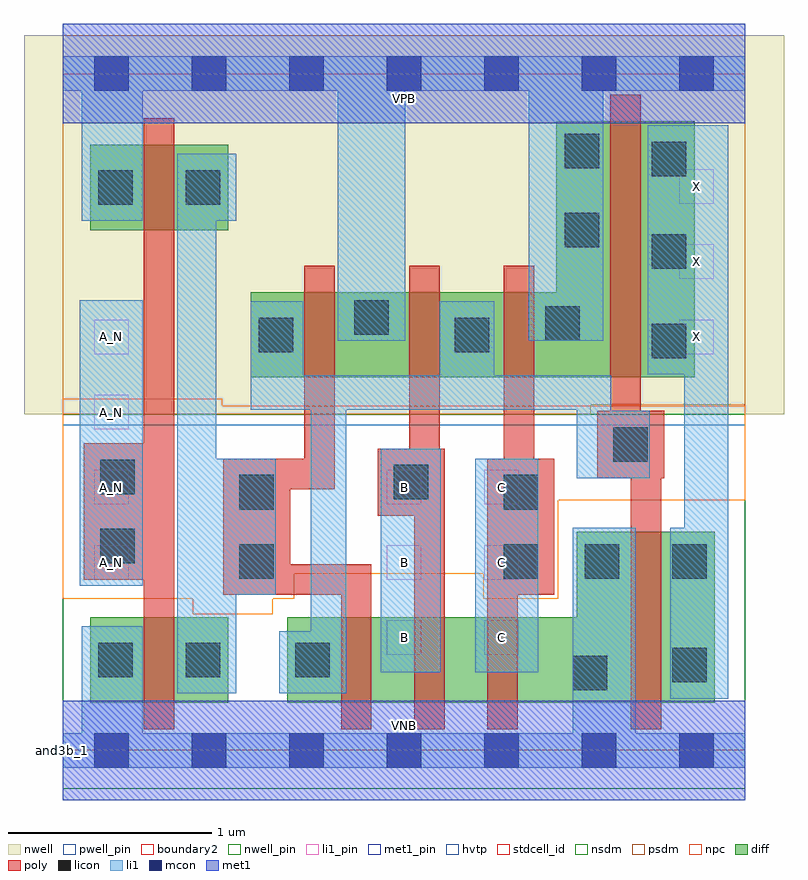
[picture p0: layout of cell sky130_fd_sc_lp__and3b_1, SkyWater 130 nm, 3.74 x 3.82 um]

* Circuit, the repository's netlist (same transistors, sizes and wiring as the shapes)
* Copyright 2020 The SkyWater PDK Authors
*
* Licensed under the Apache License, Version 2.0 (the "License");
* you may not use this file except in compliance with the License.
* You may obtain a copy of the License at
*
*     https://www.apache.org/licenses/LICENSE-2.0
*
* Unless required by applicable law or agreed to in writing, software
* distributed under the License is distributed on an "AS IS" BASIS,
* WITHOUT WARRANTIES OR CONDITIONS OF ANY KIND, either express or implied.
* See the License for the specific language governing permissions and
* limitations under the License.
*
* SPDX-License-Identifier: Apache-2.0

.SUBCKT sky130_fd_sc_lp__and3b_1 A_N B C VGND VNB VPB VPWR X
*.PININFO A_N:I B:I C:I VGND:I VNB:I VPB:I VPWR:I X:O
MMP0 y A VPWR VPB sky130_fd_pr__pfet_01v8_hvt m=1 w=0.42U l=0.15U mult=1 sa=0.265
+ sb=0.265 sd=0.28 area=0.063 perim=1.14
MMP1 y B VPWR VPB sky130_fd_pr__pfet_01v8_hvt m=1 w=0.42U l=0.15U mult=1 sa=0.265
+ sb=0.265 sd=0.28 area=0.063 perim=1.14
MMP2 y C VPWR VPB sky130_fd_pr__pfet_01v8_hvt m=1 w=0.42U l=0.15U mult=1 sa=0.265
+ sb=0.265 sd=0.28 area=0.063 perim=1.14
MMIP0 A A_N VPWR VPB sky130_fd_pr__pfet_01v8_hvt m=1 w=0.42U l=0.15U mult=1 sa=0.265
+ sb=0.265 sd=0.28 area=0.063 perim=1.14
MMIP1 X y VPWR VPB sky130_fd_pr__pfet_01v8_hvt m=1 w=1.26U l=0.15U mult=1 sa=0.265
+ sb=0.265 sd=0.28 area=0.063 perim=1.14
MMN0 y A sndA VNB sky130_fd_pr__nfet_01v8 m=1 w=0.42U l=0.15U mult=1 sa=0.265 sb=0.265
+ sd=0.28 area=0.063 perim=1.14
MMN1 sndA B sndB VNB sky130_fd_pr__nfet_01v8 m=1 w=0.42U l=0.15U mult=1 sa=0.265
+ sb=0.265 sd=0.28 area=0.063 perim=1.14
MMN2 sndB C VGND VNB sky130_fd_pr__nfet_01v8 m=1 w=0.42U l=0.15U mult=1 sa=0.265
+ sb=0.265 sd=0.28 area=0.063 perim=1.14
MMIN0 A A_N VGND VNB sky130_fd_pr__nfet_01v8 m=1 w=0.42U l=0.15U mult=1 sa=0.265
+ sb=0.265 sd=0.28 area=0.063 perim=1.14
MMIN1 X y VGND VNB sky130_fd_pr__nfet_01v8 m=1 w=0.84U l=0.15U mult=1 sa=0.265
+ sb=0.265 sd=0.28 area=0.063 perim=1.14
.ENDS sky130_fd_sc_lp__and3b_1

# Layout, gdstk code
import gdstk
lib = gdstk.Library(unit=1e-6, precision=1e-09)
def R(c, l, rs):  # rectangles x0, y0, x1, y1
    for r in rs: c.add(gdstk.rectangle(r[:2], r[2:], *l))
def A(c, l, x, y, w, h, nx, ny, dx, dy):  # array of equal rectangles
    R(c, l, [(x+i*dx, y+j*dy, x+i*dx+w, y+j*dy+h) for i in range(nx) for j in range(ny)])
def P(c, l, *ps):  # polygons
    for p in ps: c.add(gdstk.Polygon(p, *l))
nwell_pin = (64, 16)
nwell = (64, 20)
diff = (65, 20)
poly = (66, 20)
licon = (66, 44)
li1_pin = (67, 16)
li1 = (67, 20)
mcon = (67, 44)
met1_pin = (68, 16)
met1 = (68, 20)
hvtp = (78, 44)
stdcell_id = (81, 4)
nsdm = (93, 44)
psdm = (94, 20)
npc = (95, 20)
pwell_pin = (122, 16)
boundary2 = (236, 0)

sky130_fd_sc_lp__and3b_1 = lib.new_cell('sky130_fd_sc_lp__and3b_1')
R(sky130_fd_sc_lp__and3b_1, nwell_pin, [(0,3.085,3.36,3.33)])
R(sky130_fd_sc_lp__and3b_1, nwell, [(-0.19,1.655,3.55,3.52)])
R(sky130_fd_sc_lp__and3b_1, diff, [(0.135,0.235,0.815,0.655), (0.135,2.56,0.815,2.98)])
P(sky130_fd_sc_lp__and3b_1, diff, [(3.11,3.095),(2.43,3.095),(2.43,2.255),(0.925,2.255),(0.925,1.835),(3.11,1.835)],
  [(3.21,1.075),(2.53,1.075),(2.53,0.655),(1.105,0.655),(1.105,0.235),(3.21,0.235)])
P(sky130_fd_sc_lp__and3b_1, poly, [(0.55,3.11),(0.4,3.11),(0.4,1.51),(0.105,1.51),(0.105,0.84),(0.4,0.84),(0.4,0.105),(0.55,0.105)],
  [(1.52,0.915),(1.12,0.915),(1.12,1.285),(1.34,1.285),(1.34,2.385),(1.19,2.385),(1.19,1.435),(0.79,1.435),(0.79,0.765),(1.37,0.765),(1.37,0.105),(1.52,0.105)],
  [(1.88,1.485),(1.855,1.485),(1.855,2.385),(1.705,2.385),(1.705,1.485),(1.55,1.485),(1.55,1.155),(1.73,1.155),(1.73,0.105),(1.88,0.105)],
  [(2.42,1.435),(2.32,1.435),(2.32,2.385),(2.17,2.385),(2.17,1.435),(2.09,1.435),(2.09,0.105),(2.24,0.105),(2.24,0.765),(2.42,0.765)],
  [(2.96,1.67),(2.845,1.67),(2.845,3.225),(2.695,3.225),(2.695,1.67),(2.63,1.67),(2.63,1.34),(2.795,1.34),(2.795,0.105),(2.945,0.105),(2.945,1.34),(2.96,1.34)])
R(sky130_fd_sc_lp__and3b_1, licon, [(2.51,0.295,2.68,0.465), (3,0.335,3.17,0.505), (0.175,0.36,0.345,0.53), (0.605,0.36,0.775,0.53), (1.145,0.36,1.315,0.53), (0.87,0.845,1.04,1.015), (2.17,0.845,2.34,1.015), (2.57,0.845,2.74,1.015), (3,0.845,3.17,1.015), (0.185,0.92,0.355,1.09), (0.87,1.185,1.04,1.355), (2.17,1.185,2.34,1.355), (1.63,1.235,1.8,1.405), (0.185,1.26,0.355,1.43), (2.71,1.42,2.88,1.59), (2.9,1.93,3.07,2.1), (0.965,1.96,1.135,2.13), (1.93,1.96,2.1,2.13), (2.375,2.015,2.545,2.185), (1.435,2.045,1.605,2.215), (2.9,2.37,3.07,2.54), (2.47,2.475,2.64,2.645), (0.175,2.685,0.345,2.855), (0.605,2.685,0.775,2.855), (2.9,2.825,3.07,2.995), (2.47,2.865,2.64,3.035)])
A(sky130_fd_sc_lp__and3b_1, li1_pin, 1.595, 0.47, 0.17, 0.17, 1, 3, 0, 0.37)
A(sky130_fd_sc_lp__and3b_1, li1_pin, 2.075, 0.47, 0.17, 0.17, 1, 3, 0, 0.37)
A(sky130_fd_sc_lp__and3b_1, li1_pin, 0.155, 0.84, 0.17, 0.17, 1, 4, 0, 0.37)
A(sky130_fd_sc_lp__and3b_1, li1_pin, 3.035, 1.95, 0.17, 0.17, 1, 3, 0, 0.37)
R(sky130_fd_sc_lp__and3b_1, li1, [(1.565,0.385,1.86,1.485), (2.03,0.385,2.34,1.435), (0.085,0.81,0.395,2.215)])
P(sky130_fd_sc_lp__and3b_1, li1, [(1.355,2.015),(1.355,3.245),(0.395,3.245),(0.395,2.605),(0.095,2.605),(0.095,3.245),(0,3.245),(0,3.415),(3.36,3.415),(3.36,3.245),(2.66,3.245),(2.66,2.015),(2.295,2.015),(2.295,3.245),(1.685,3.245),(1.685,2.015)],
  [(0.095,0.085),(0.095,0.61),(0.395,0.61),(0.395,0.085),(2.51,0.085),(2.51,1.095),(2.82,1.095),(2.82,0.085),(3.36,0.085),(3.36,-0.085),(0,-0.085),(0,0.085)],
  [(0.755,2.605),(0.755,1.435),(1.05,1.435),(1.05,0.765),(0.855,0.765),(0.855,0.28),(0.565,0.28),(0.565,2.935),(0.855,2.935),(0.855,2.605)],
  [(1.185,1.845),(1.855,1.845),(1.855,2.21),(2.125,2.21),(2.125,1.845),(2.7,1.845),(2.7,1.67),(2.89,1.67),(2.89,1.34),(2.53,1.34),(2.53,1.675),(1.395,1.675),(1.395,0.28),(1.065,0.28),(1.065,0.585),(1.22,0.585),(1.22,1.675),(0.925,1.675),(0.925,2.21),(1.185,2.21)],
  [(3.06,1.095),(3.06,1.85),(2.88,1.85),(2.88,3.075),(3.275,3.075),(3.275,0.255),(2.99,0.255),(2.99,1.095)])
A(sky130_fd_sc_lp__and3b_1, mcon, 0.155, -0.085, 0.17, 0.17, 7, 2, 0.48, 3.33)
R(sky130_fd_sc_lp__and3b_1, met1_pin, [(0,0,3.36,0.245), (0,3.085,3.36,3.33)])
R(sky130_fd_sc_lp__and3b_1, met1, [(0,-0.245,3.36,0.245), (0,3.085,3.36,3.575)])
R(sky130_fd_sc_lp__and3b_1, hvtp, [(0,1.6,3.36,3.33)])
R(sky130_fd_sc_lp__and3b_1, stdcell_id, [(0,0,3.36,3.33)])
R(sky130_fd_sc_lp__and3b_1, nsdm, [(0,-0.19,3.36,1.655)])
P(sky130_fd_sc_lp__and3b_1, psdm, [(3.36,3.52),(0,3.52),(0,1.655),(2.6,1.655),(2.6,1.7),(3.36,1.7)])
P(sky130_fd_sc_lp__and3b_1, npc, [(3.36,1.695),(0.785,1.695),(0.785,1.73),(0,1.73),(0,0.745),(0.64,0.745),(0.64,0.67),(1.035,0.67),(1.035,0.745),(1.14,0.745),(1.14,0.87),(2.07,0.87),(2.07,0.745),(2.44,0.745),(2.44,1.23),(3.36,1.23)])
R(sky130_fd_sc_lp__and3b_1, pwell_pin, [(0,0,3.36,0.245)])
R(sky130_fd_sc_lp__and3b_1, boundary2, [(0,0,3.36,3.33)])
sky130_fd_sc_lp__and3b_1.add(gdstk.Label('VNB', (1.68,0.123), layer=64, texttype=59))
sky130_fd_sc_lp__and3b_1.add(gdstk.Label('VPB', (1.68,3.208), layer=64, texttype=5))
sky130_fd_sc_lp__and3b_1.add(gdstk.Label('and3b_1', (0,0), layer=83, texttype=44))
sky130_fd_sc_lp__and3b_1.add(gdstk.Label('VPWR', (1.68,3.208), layer=68, texttype=5))
sky130_fd_sc_lp__and3b_1.add(gdstk.Label('VGND', (1.68,0.123), layer=68, texttype=5))
sky130_fd_sc_lp__and3b_1.add(gdstk.Label('B', (1.68,0.555), layer=67, texttype=5))
sky130_fd_sc_lp__and3b_1.add(gdstk.Label('B', (1.68,0.925), layer=67, texttype=5))
sky130_fd_sc_lp__and3b_1.add(gdstk.Label('B', (1.68,1.295), layer=67, texttype=5))
sky130_fd_sc_lp__and3b_1.add(gdstk.Label('C', (2.16,0.925), layer=67, texttype=5))
sky130_fd_sc_lp__and3b_1.add(gdstk.Label('C', (2.16,1.295), layer=67, texttype=5))
sky130_fd_sc_lp__and3b_1.add(gdstk.Label('A_N', (0.24,0.925), layer=67, texttype=5))
sky130_fd_sc_lp__and3b_1.add(gdstk.Label('A_N', (0.24,1.295), layer=67, texttype=5))
sky130_fd_sc_lp__and3b_1.add(gdstk.Label('A_N', (0.24,1.665), layer=67, texttype=5))
sky130_fd_sc_lp__and3b_1.add(gdstk.Label('A_N', (0.24,2.035), layer=67, texttype=5))
sky130_fd_sc_lp__and3b_1.add(gdstk.Label('X', (3.12,2.035), layer=67, texttype=5))
sky130_fd_sc_lp__and3b_1.add(gdstk.Label('X', (3.12,2.405), layer=67, texttype=5))
sky130_fd_sc_lp__and3b_1.add(gdstk.Label('X', (3.12,2.775), layer=67, texttype=5))
sky130_fd_sc_lp__and3b_1.add(gdstk.Label('C', (2.16,0.555), layer=67, texttype=5))

lib.write_gds('sky130_fd_sc_lp__and3b_1.gds')
